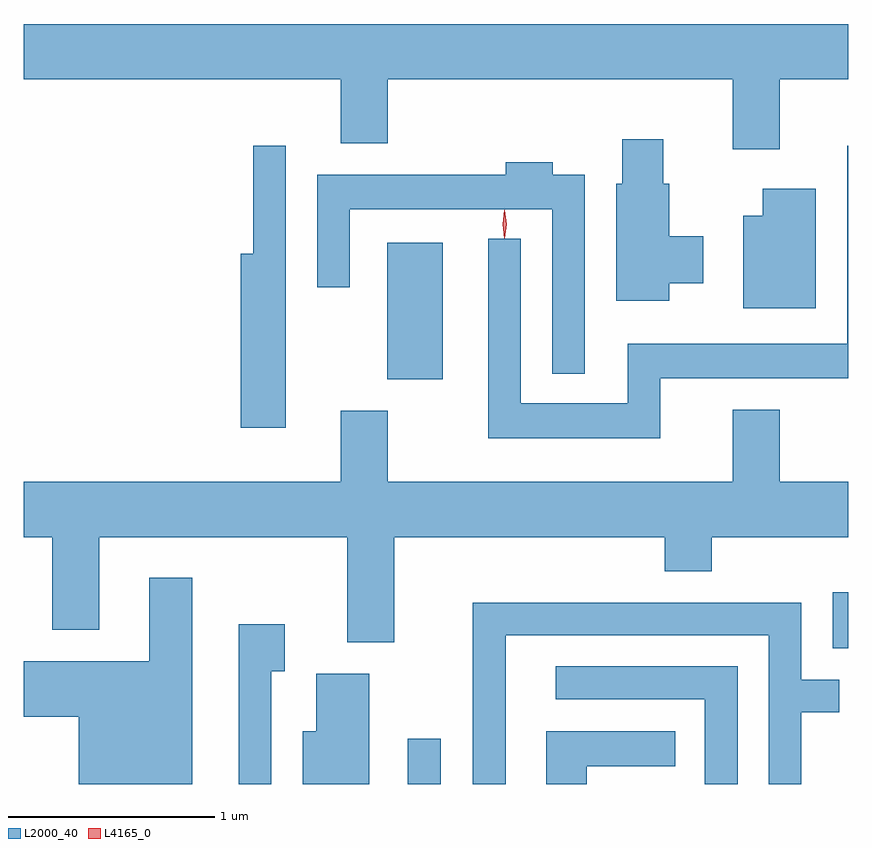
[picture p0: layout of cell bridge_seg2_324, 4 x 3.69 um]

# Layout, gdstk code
import gdstk
lib = gdstk.Library(unit=1e-6, precision=1e-09)
def R(c, l, rs):  # rectangles x0, y0, x1, y1
    for r in rs: c.add(gdstk.rectangle(r[:2], r[2:], *l))
def P(c, l, *ps):  # polygons
    for p in ps: c.add(gdstk.Polygon(p, *l))
L2000_40 = (2000, 40)
L4165_0 = (4165, 0)

bridge_seg2_324 = lib.new_cell('bridge_seg2_324')
R(bridge_seg2_324, L2000_40, [(439.956,1042.679,440.114,1042.898), (442.016,1043.336,442.092,1043.608), (439.856,1044.641,440.124,1045.304)])
P(bridge_seg2_324, L2000_40, [(441.759,1046.096),(442.092,1046.096),(442.092,1046.364),(438.092,1046.364),(438.092,1046.096),(439.631,1046.096),(439.631,1045.786),(439.859,1045.786),(439.859,1046.096),(441.531,1046.096),(441.531,1045.756),(441.759,1045.756)],
  [(441.224,1045.106),(441.389,1045.106),(441.389,1045.334),(441.224,1045.334),(441.224,1045.589),(441.194,1045.589),(441.194,1045.804),(440.996,1045.804),(440.996,1045.589),(440.966,1045.589),(440.966,1045.021),(441.224,1045.021)],
  [(441.179,1044.646),(442.092,1044.646),(442.092,1045.773),(442.086,1045.773),(442.086,1044.814),(441.021,1044.814),(441.021,1044.524),(440.504,1044.524),(440.504,1045.323),(440.346,1045.323),(440.346,1044.356),(441.179,1044.356)],
  [(439.364,1045.773),(439.206,1045.773),(439.206,1045.249),(439.146,1045.249),(439.146,1044.406),(439.364,1044.406)],
  [(440.814,1045.634),(440.659,1045.634),(440.659,1045.694),(440.431,1045.694),(440.431,1045.634),(439.516,1045.634),(439.516,1045.088),(439.674,1045.088),(439.674,1045.466),(440.656,1045.466),(440.656,1044.668),(440.814,1044.668)],
  [(441.934,1045.564),(441.676,1045.564),(441.676,1045.434),(441.581,1045.434),(441.581,1044.986),(441.934,1044.986)],
  [(439.889,1043.876),(441.201,1043.876),(441.201,1043.711),(441.429,1043.711),(441.429,1043.876),(442.092,1043.876),(442.092,1044.144),(441.759,1044.144),(441.759,1044.494),(441.531,1044.494),(441.531,1044.144),(439.859,1044.144),(439.859,1044.489),(439.631,1044.489),(439.631,1044.144),(438.092,1044.144),(438.092,1043.876),(438.231,1043.876),(438.231,1043.426),(438.459,1043.426),(438.459,1043.876),(439.661,1043.876),(439.661,1043.366),(439.889,1043.366)],
  [(438.909,1043.679),(438.701,1043.679),(438.701,1043.274),(438.092,1043.274),(438.092,1043.006),(438.361,1043.006),(438.361,1042.679),(438.909,1042.679)],
  [(440.429,1043.401),(441.706,1043.401),(441.706,1042.679),(441.864,1042.679),(441.864,1043.026),(442.048,1043.026),(442.048,1043.184),(441.864,1043.184),(441.864,1043.559),(440.271,1043.559),(440.271,1042.679),(440.429,1042.679)],
  [(439.294,1043.226),(439.359,1043.226),(439.359,1043.454),(439.136,1043.454),(439.136,1042.679),(439.294,1042.679)],
  [(441.554,1043.249),(440.673,1043.249),(440.673,1043.091),(441.396,1043.091),(441.396,1042.679),(441.554,1042.679)],
  [(439.769,1043.214),(439.511,1043.214),(439.511,1042.934),(439.446,1042.934),(439.446,1042.679),(439.769,1042.679)],
  [(440.824,1042.766),(441.253,1042.766),(441.253,1042.934),(440.626,1042.934),(440.626,1042.679),(440.824,1042.679)])
P(bridge_seg2_324, L4165_0, [(440.424,1045.324),(440.415,1045.394),(440.424,1045.462),(440.425,1045.463),(440.425,1045.462),(440.435,1045.394),(440.425,1045.324),(440.425,1045.324)],
  [(440.425,1045.327),(440.425,1045.328),(440.415,1045.394),(440.425,1045.46),(440.425,1045.46),(440.426,1045.46),(440.435,1045.394),(440.426,1045.328)])

lib.write_gds('bridge_seg2_324.gds')
